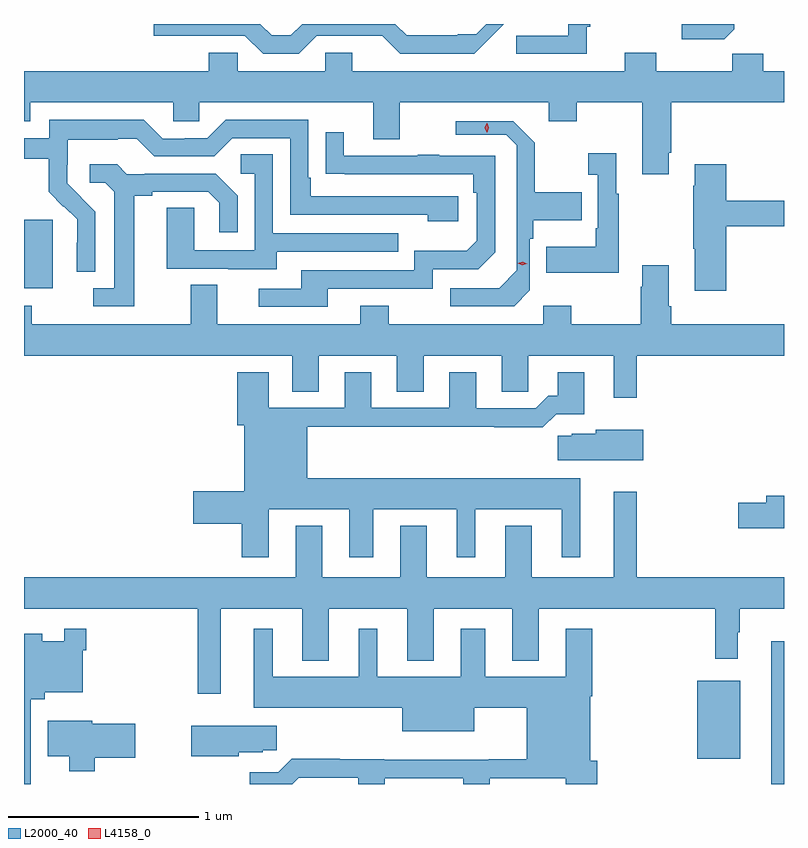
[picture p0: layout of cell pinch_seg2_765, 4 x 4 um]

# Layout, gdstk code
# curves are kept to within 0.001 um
import gdstk
lib = gdstk.Library(unit=1e-6, precision=1e-09)
def R(c, l, rs):  # rectangles x0, y0, x1, y1
    for r in rs: c.add(gdstk.rectangle(r[:2], r[2:], *l))
def P(c, l, *ps):  # polygons
    for p in ps: c.add(gdstk.Polygon(p, *l))
L2000_40 = (2000, 40)
L4158_0 = (4158, 0)

pinch_seg2_765 = lib.new_cell('pinch_seg2_765')
R(pinch_seg2_765, L2000_40, [(733.388,630.729,733.454,631.48), (732.998,630.863,733.225,631.273), (729.454,633.338,729.604,633.699)])
P(pinch_seg2_765, L2000_40, [(733.191,634.701),(733.191,634.729),(732.915,634.729),(732.915,634.65),(733.139,634.65)],
  [(732.416,634.715),(732.434,634.715),(732.434,634.729),(732.318,634.729),(732.318,634.668),(732.045,634.668),(732.045,634.572),(732.416,634.572)],
  [(730.995,634.668),(731.339,634.667),(731.433,634.572),(731.823,634.572),(731.98,634.729),(731.888,634.729),(731.833,634.674),(731.736,634.674),(731.736,634.67),(731.468,634.67),(731.408,634.729),(730.918,634.729),(730.858,634.669),(730.757,634.669),(730.697,634.729),(730.137,634.729),(730.137,634.667),(730.616,634.668),(730.712,634.572),(730.899,634.572)],
  [(731.291,634.122),(731.431,634.122),(731.431,634.316),(732.215,634.316),(732.215,634.217),(732.363,634.217),(732.363,634.316),(732.707,634.316),(732.707,633.939),(732.847,633.939),(732.847,634.051),(732.86,634.051),(732.86,634.316),(733.454,634.316),(733.454,634.48),(733.345,634.48),(733.345,634.573),(733.181,634.573),(733.181,634.48),(732.781,634.48),(732.781,634.579),(732.617,634.579),(732.617,634.48),(731.182,634.48),(731.182,634.578),(731.04,634.578),(731.04,634.48),(730.578,634.48),(730.578,634.578),(730.427,634.578),(730.427,634.48),(729.454,634.48),(729.454,634.217),(729.487,634.217),(729.487,634.316),(730.239,634.316),(730.239,634.218),(730.377,634.218),(730.377,634.316),(731.291,634.316)],
  [(729.828,633.742),(729.682,633.89),(729.682,633.987),(729.684,633.987),(729.684,634.121),(729.947,634.121),(729.947,634.125),(730.047,634.125),(730.14,634.032),(730.455,634.032),(730.551,634.128),(730.854,634.128),(730.854,633.726),(731.579,633.726),(731.579,633.692),(731.74,633.692),(731.74,633.822),(730.963,633.822),(730.963,633.919),(730.95,633.919),(730.95,634.224),(730.515,634.224),(730.419,634.128),(730.301,634.128),(730.301,634.125),(730.185,634.125),(730.085,634.225),(729.588,634.225),(729.588,634.128),(729.454,634.128),(729.454,634.02),(729.583,634.02),(729.583,633.845),(729.66,633.768),(729.663,633.771),(729.734,633.701),(729.734,633.578),(729.732,633.578),(729.732,633.424),(729.828,633.424)],
  [(732.117,633.327),(732.117,633.599),(732.133,633.599),(732.133,633.695),(732.389,633.695),(732.389,633.843),(732.143,633.843),(732.143,634.105),(732.03,634.218),(731.727,634.218),(731.727,634.146),(731.992,634.146),(732.048,634.09),(732.048,633.432),(731.955,633.339),(731.697,633.339),(731.697,633.243),(732.033,633.243)],
  [(731.053,633.336),(731.604,633.336),(731.604,633.438),(731.844,633.438),(731.934,633.528),(731.934,634.035),(731.639,634.035),(731.639,634.04),(731.527,634.04),(731.527,634.035),(731.137,634.035),(731.137,634.159),(731.041,634.159),(731.041,633.94),(731.818,633.939),(731.818,633.842),(731.838,633.842),(731.838,633.588),(731.785,633.535),(731.508,633.535),(731.508,633.432),(730.913,633.432),(730.913,633.336),(730.689,633.336),(730.689,633.24),(731.053,633.24)],
  [(732.583,633.835),(732.571,633.835),(732.571,634.048),(732.423,634.048),(732.423,633.935),(732.474,633.935),(732.474,633.655),(732.462,633.655),(732.462,633.557),(732.202,633.557),(732.202,633.419),(732.583,633.419)],
  [(730.783,633.531),(731.423,633.531),(731.423,633.627),(730.764,633.627),(730.764,634.043),(730.596,634.043),(730.596,633.942),(730.668,633.942),(730.668,633.537),(730.35,633.537),(730.35,633.761),(730.205,633.761),(730.205,633.441),(730.529,633.441),(730.529,633.437),(730.783,633.437)],
  [(733.151,633.664),(733.454,633.664),(733.454,633.8),(733.151,633.8),(733.151,633.991),(732.983,633.991),(732.983,633.878),(732.976,633.878),(732.976,633.547),(732.983,633.547),(732.983,633.324),(733.151,633.324)],
  [(730.033,633.824),(730.129,633.824),(730.129,633.846),(730.424,633.846),(730.481,633.789),(730.481,633.633),(730.578,633.633),(730.578,633.826),(730.462,633.942),(730.09,633.942),(730.09,633.939),(729.996,633.939),(729.944,633.991),(729.801,633.991),(729.801,633.894),(729.882,633.894),(729.929,633.847),(729.929,633.339),(729.819,633.339),(729.819,633.243),(730.033,633.243)],
  [(732.679,632.984),(733.454,632.984),(733.454,633.148),(732.86,633.148),(732.86,633.244),(732.847,633.244),(732.847,633.46),(732.707,633.46),(732.707,633.347),(732.7,633.347),(732.7,633.148),(732.333,633.148),(732.333,633.247),(732.186,633.247),(732.186,633.148),(731.373,633.148),(731.373,633.247),(731.225,633.247),(731.225,633.148),(730.471,633.148),(730.471,633.356),(730.331,633.356),(730.331,633.148),(729.495,633.148),(729.495,633.247),(729.454,633.247),(729.454,632.984),(730.865,632.984),(730.865,632.794),(731.005,632.794),(731.005,632.984),(731.417,632.984),(731.417,632.794),(731.557,632.794),(731.557,632.984),(731.969,632.984),(731.969,632.794),(732.108,632.794),(732.108,632.984),(732.557,632.984),(732.557,632.763),(732.679,632.763)],
  [(730.741,632.174),(731.165,632.174),(731.165,631.923),(731.293,631.923),(731.293,632.174),(731.732,632.174),(731.732,631.923),(731.83,631.923),(731.83,632.174),(732.284,632.174),(732.284,631.923),(732.382,631.923),(732.382,632.338),(730.945,632.338),(730.945,632.608),(731.929,632.608),(731.929,632.606),(732.185,632.606),(732.255,632.676),(732.403,632.676),(732.403,632.896),(732.263,632.896),(732.263,632.773),(732.214,632.773),(732.147,632.706),(731.833,632.706),(731.833,632.896),(731.693,632.896),(731.693,632.709),(731.281,632.709),(731.281,632.896),(731.141,632.896),(731.141,632.709),(730.741,632.709),(730.741,632.896),(730.577,632.896),(730.577,632.616),(730.613,632.616),(730.613,632.27),(730.344,632.27),(730.344,632.099),(730.601,632.099),(730.601,631.923),(730.741,631.923)],
  [(732.712,632.593),(732.462,632.593),(732.462,632.572),(732.336,632.572),(732.336,632.561),(732.264,632.561),(732.264,632.432),(732.712,632.432)],
  [(730.489,631.652),(730.919,631.652),(730.919,631.379),(731.059,631.379),(731.059,631.652),(731.471,631.652),(731.471,631.379),(731.611,631.379),(731.611,631.652),(732.023,631.652),(732.023,631.379),(732.163,631.379),(732.163,631.652),(733.093,631.652),(733.093,631.389),(733.21,631.389),(733.21,631.529),(733.222,631.529),(733.222,631.652),(733.454,631.652),(733.454,631.816),(732.679,631.816),(732.679,632.266),(732.557,632.266),(732.557,631.816),(732.127,631.816),(732.127,632.089),(731.987,632.089),(731.987,631.816),(731.575,631.816),(731.575,632.089),(731.435,632.089),(731.435,631.816),(731.023,631.816),(731.023,632.089),(730.883,632.089),(730.883,631.816),(729.454,631.816),(729.454,631.652),(730.368,631.652),(730.368,631.203),(730.489,631.203)],
  [(733.454,632.246),(733.361,632.246),(733.361,632.21),(733.212,632.21),(733.212,632.075),(733.454,632.075)],
  [(730.899,630.762),(731.213,630.762),(731.213,630.729),(731.353,630.729),(731.353,630.759),(731.765,630.759),(731.765,630.729),(731.905,630.729),(731.905,630.759),(732.305,630.759),(732.305,630.729),(732.47,630.729),(732.47,630.852),(732.433,630.852),(732.433,631.19),(732.446,631.19),(732.446,631.546),(732.305,631.546),(732.305,631.294),(731.881,631.294),(731.881,631.546),(731.753,631.546),(731.753,631.294),(731.314,631.294),(731.314,631.546),(731.216,631.546),(731.216,631.294),(730.762,631.294),(730.762,631.546),(730.664,631.546),(730.664,631.13),(731.444,631.13),(731.444,631.007),(731.824,631.007),(731.824,631.13),(732.101,631.13),(732.101,630.86),(731.901,630.86),(731.901,630.856),(731.349,630.856),(731.349,630.86),(731.117,630.86),(731.117,630.863),(730.862,630.863),(730.791,630.792),(730.643,630.792),(730.643,630.729),(730.866,630.729)],
  [(729.489,631.175),(729.563,631.175),(729.563,631.211),(729.762,631.211),(729.762,631.433),(729.782,631.433),(729.782,631.546),(729.666,631.546),(729.666,631.48),(729.55,631.48),(729.55,631.519),(729.454,631.519),(729.454,630.729),(729.489,630.729)],
  [(729.827,630.868),(730.039,630.868),(730.039,631.046),(729.814,631.046),(729.814,631.063),(729.578,631.063),(729.578,630.875),(729.692,630.875),(729.692,630.797),(729.827,630.797)],
  [(730.584,630.896),(730.71,630.896),(730.71,630.907),(730.783,630.907),(730.783,631.036),(730.334,631.036),(730.334,630.875),(730.584,630.875)])
P(pinch_seg2_765, L4158_0, [(731.89,634.159),(731.89,634.159),(731.88,634.183),(731.89,634.206),(731.89,634.206),(731.891,634.206),(731.9,634.183),(731.891,634.159)],
  [(732.076,633.458),(732.052,633.47),(732.052,633.47),(732.052,633.47),(732.078,633.478),(732.101,633.467),(732.102,633.466),(732.101,633.466)])

lib.write_gds('pinch_seg2_765.gds')
